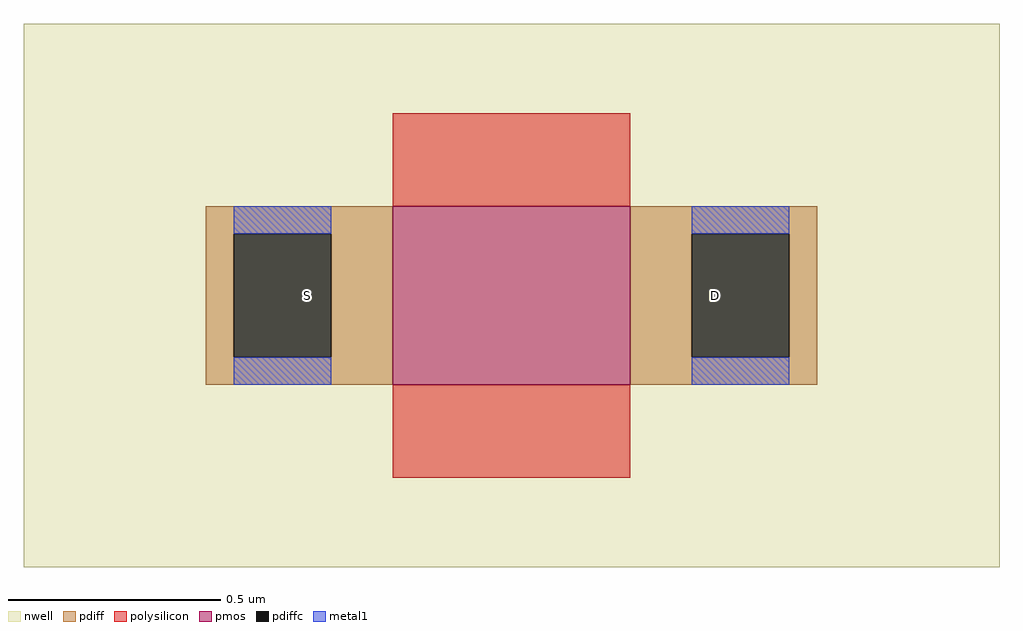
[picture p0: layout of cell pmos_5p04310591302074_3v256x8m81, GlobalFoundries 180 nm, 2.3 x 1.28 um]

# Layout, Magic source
magic
tech gf180mcuD
magscale 1 10
<< nwell >>
rect -174 -86 286 170
<< pmos >>
rect 0 0 112 84
<< pdiff >>
rect -88 71 0 84
rect -88 13 -75 71
rect -29 13 0 71
rect -88 0 0 13
rect 112 71 200 84
rect 112 13 141 71
rect 187 13 200 71
rect 112 0 200 13
<< pdiffc >>
rect -75 13 -29 71
rect 141 13 187 71
<< polysilicon >>
rect 0 84 112 128
rect 0 -44 112 0
<< metal1 >>
rect -75 71 -29 84
rect -75 0 -29 13
rect 141 71 187 84
rect 141 0 187 13
<< labels >>
flabel pdiffc -40 42 -40 42 0 FreeSans 186 0 0 0 S
flabel pdiffc 152 42 152 42 0 FreeSans 186 0 0 0 D
<< end >>
